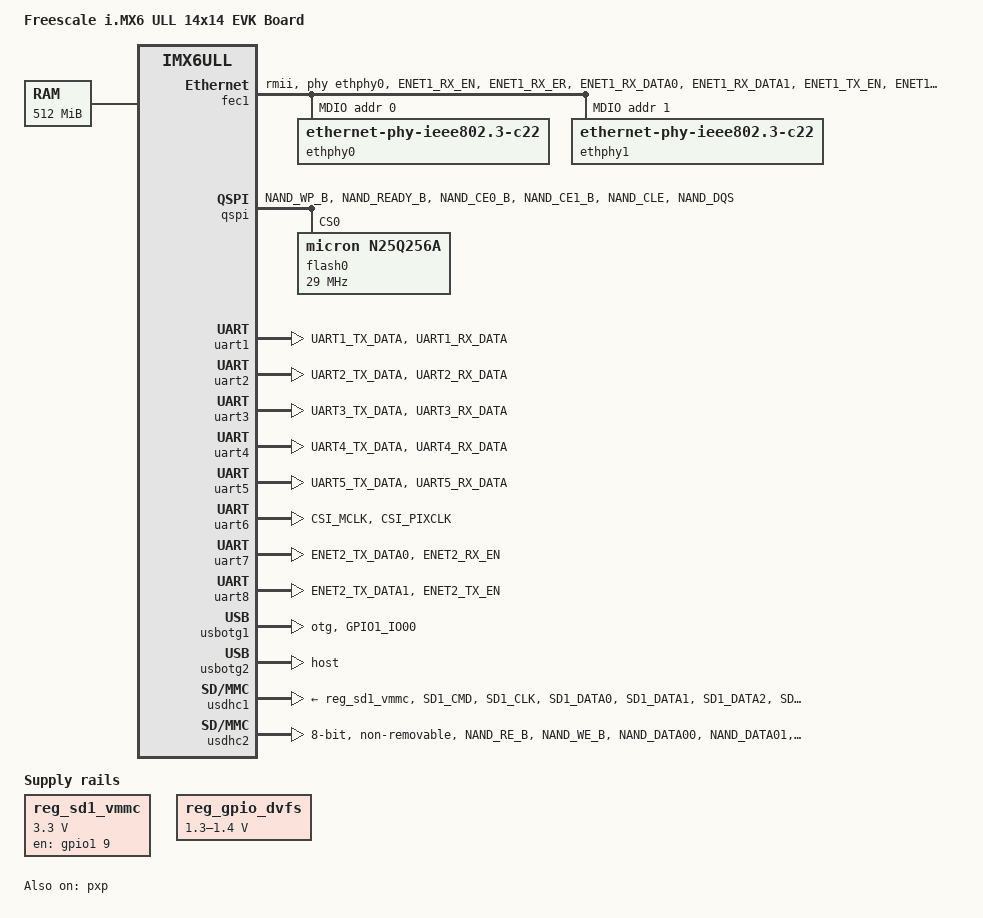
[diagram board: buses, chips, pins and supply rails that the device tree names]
/*
 * Copyright (C) 2016 Freescale Semiconductor, Inc.
 *
 * This program is free software; you can redistribute it and/or modify
 * it under the terms of the GNU General Public License version 2 as
 * published by the Free Software Foundation.
 */

/dts-v1/;

#include <dt-bindings/input/input.h>
#include "imx6ull.dtsi"

/ {
	model = "Freescale i.MX6 ULL 14x14 EVK Board";
	compatible = "fsl,imx6ull-14x14-evk", "fsl,imx6ull";

	chosen {
		stdout-path = &uart1;
	};

	memory {
		reg = <0x80000000 0x20000000>;
	};

	reserved-memory {
		#address-cells = <1>;
		#size-cells = <1>;
		ranges;

		linux,cma {
			compatible = "shared-dma-pool";
			reusable;
			size = <0x4000000>;
			linux,cma-default;
		};
	};

	regulators {
		compatible = "simple-bus";
		#address-cells = <1>;
		#size-cells = <0>;

		reg_sd1_vmmc: regulator@1 {
			compatible = "regulator-fixed";
			regulator-name = "VSD_3V3";
			regulator-min-microvolt = <3300000>;
			regulator-max-microvolt = <3300000>;
			gpio = <&gpio1 9 GPIO_ACTIVE_HIGH>;
			off-on-delay = <20000>;
			enable-active-high;
		};

		reg_gpio_dvfs: regulator-gpio {
			compatible = "regulator-gpio";
			pinctrl-names = "default";
			pinctrl-0 = <&pinctrl_dvfs>;
			regulator-min-microvolt = <1300000>;
			regulator-max-microvolt = <1400000>;
			regulator-name = "gpio_dvfs";
			regulator-type = "voltage";
			gpios = <&gpio5 3 GPIO_ACTIVE_HIGH>;
			states = <1300000 0x1 1400000 0x0>;
		};
	};
};

&cpu0 {
	dc-supply = <&reg_gpio_dvfs>;
};

&clks {
	assigned-clocks = <&clks IMX6UL_CLK_PLL4_AUDIO_DIV>;
	assigned-clock-rates = <786432000>;
};

&fec1 {
	pinctrl-names = "default";
	pinctrl-0 = <&pinctrl_enet1>;
	phy-mode = "rmii";
	phy-handle = <&ethphy0>;
	status = "okay";

	mdio {
		#address-cells = <1>;
		#size-cells = <0>;

		ethphy0: ethernet-phy@0 {
			compatible = "ethernet-phy-ieee802.3-c22";
			reg = <0>;
		};

		ethphy1: ethernet-phy@1 {
			compatible = "ethernet-phy-ieee802.3-c22";
			reg = <1>;
		};
	};
};

&fec2 {
	pinctrl-names = "default";
	pinctrl-0 = <&pinctrl_enet2>;
	phy-mode = "rmii";
	phy-handle = <&ethphy1>;
	status = "disabled";
};

&gpc {
	fsl,cpu_pupscr_sw2iso = <0x1>;
	fsl,cpu_pupscr_sw = <0x0>;
	fsl,cpu_pdnscr_iso2sw = <0x1>;
	fsl,cpu_pdnscr_iso = <0x1>;
	fsl,ldo-bypass = <0>; /* DCDC, ldo-enable */
};

&iomuxc {
	pinctrl-names = "default";
	pinctrl-0 = <&pinctrl_hog_1>;
	pinctrl_hog_1: hoggrp-1 {
		fsl,pins = <
			MX6UL_PAD_UART1_RTS_B__GPIO1_IO19	0x17059
			MX6UL_PAD_GPIO1_IO05__USDHC1_VSELECT	0x17059
			MX6UL_PAD_GPIO1_IO09__GPIO1_IO09	0x17059
			MX6UL_PAD_LCD_ENABLE__GPIO3_IO01	0x17059 /* TTL_OUT0 */
			MX6UL_PAD_JTAG_MOD__GPIO1_IO10	0x17059 /* TTL_OUT1 */
			MX6UL_PAD_GPIO1_IO04__GPIO1_IO04	0x17059 /* TTL_OUT2 */
			MX6UL_PAD_CSI_DATA04__GPIO4_IO25	0x17059 /* TTL_OUT3 */
			MX6UL_PAD_CSI_DATA05__GPIO4_IO26	0x17059 /* TTL_OUT4 */
			MX6UL_PAD_CSI_DATA00__GPIO4_IO21	0x17059 /* TTL_OUT5 */
			MX6UL_PAD_CSI_DATA01__GPIO4_IO22	0x17059 /* TTL_OUT6 */
			MX6UL_PAD_CSI_HSYNC__GPIO4_IO20	0x17059 /* TTL_OUT7 */
			MX6UL_PAD_CSI_DATA02__GPIO4_IO23	0x17059 /* TTL_OUT8 */
			MX6UL_PAD_CSI_DATA03__GPIO4_IO24	0x17059 /* TTL_OUT9 */
			MX6UL_PAD_CSI_DATA06__GPIO4_IO27	0x17059 /* TTL_IN0 */
			MX6UL_PAD_CSI_DATA07__GPIO4_IO28	0x17059 /* TTL_IN1 */
			MX6UL_PAD_SNVS_TAMPER9__GPIO5_IO09	0x17059 /* TTL_IN2 */
			MX6UL_PAD_SNVS_TAMPER5__GPIO5_IO05	0x17059 /* TTL_IN3 */
			MX6UL_PAD_SNVS_TAMPER8__GPIO5_IO08	0x17059 /* TTL_IN4 */
			MX6UL_PAD_SNVS_TAMPER4__GPIO5_IO04	0x17059 /* TTL_IN5 */
			MX6UL_PAD_SNVS_TAMPER3__GPIO5_IO03	0x17059 /* TTL_IN6 */
			MX6UL_PAD_SNVS_TAMPER7__GPIO5_IO07	0x17059 /* TTL_IN7 */
			MX6UL_PAD_SNVS_TAMPER2__GPIO5_IO02	0x17059 /* TTL_IN8 */
			MX6UL_PAD_SNVS_TAMPER6__GPIO5_IO06	0x17059 /* TTL_IN9 */
			MX6UL_PAD_GPIO1_IO09__GPIO1_IO09	0x17059 /* TTL_IN10 */
			MX6UL_PAD_GPIO1_IO08__GPIO1_IO08	0x17059 /* TTL_IN11 */
			MX6UL_PAD_UART2_RTS_B__GPIO1_IO23	0x17059 /* TTL_IN12 */
			MX6UL_PAD_UART2_CTS_B__GPIO1_IO22	0x17059 /* TTL_IN13 */
			MX6UL_PAD_UART3_RTS_B__GPIO1_IO27	0x17059 /* TTL_IN14 */
			MX6UL_PAD_UART3_CTS_B__GPIO1_IO26	0x17059 /* TTL_IN15 */
		>;
	};

	pinctrl_dvfs: dvfsgrp {
		fsl,pins = <
			MX6UL_PAD_SNVS_TAMPER3__GPIO5_IO03	0x79
		>;
	};

	pinctrl_enet1: enet1grp {
		fsl,pins = <
			MX6UL_PAD_ENET1_RX_EN__ENET1_RX_EN	0x1b0b0
			MX6UL_PAD_ENET1_RX_ER__ENET1_RX_ER	0x1b0b0
			MX6UL_PAD_ENET1_RX_DATA0__ENET1_RDATA00	0x1b0b0
			MX6UL_PAD_ENET1_RX_DATA1__ENET1_RDATA01	0x1b0b0
			MX6UL_PAD_ENET1_TX_EN__ENET1_TX_EN	0x1b0b0
			MX6UL_PAD_ENET1_TX_DATA0__ENET1_TDATA00	0x1b0b0
			MX6UL_PAD_ENET1_TX_DATA1__ENET1_TDATA01	0x1b0b0
			MX6UL_PAD_ENET1_TX_CLK__ENET1_REF_CLK1	0x4001b031
		>;
	};

	pinctrl_enet2: enet2grp {
		fsl,pins = <
			MX6UL_PAD_GPIO1_IO07__ENET2_MDC		0x1b0b0
			MX6UL_PAD_GPIO1_IO06__ENET2_MDIO	0x1b0b0
			MX6UL_PAD_ENET2_RX_EN__ENET2_RX_EN	0x1b0b0
			MX6UL_PAD_ENET2_RX_ER__ENET2_RX_ER	0x1b0b0
			MX6UL_PAD_ENET2_RX_DATA0__ENET2_RDATA00	0x1b0b0
			MX6UL_PAD_ENET2_RX_DATA1__ENET2_RDATA01	0x1b0b0
			MX6UL_PAD_ENET2_TX_EN__ENET2_TX_EN	0x1b0b0
			MX6UL_PAD_ENET2_TX_DATA0__ENET2_TDATA00	0x1b0b0
			MX6UL_PAD_ENET2_TX_DATA1__ENET2_TDATA01	0x1b0b0
			MX6UL_PAD_ENET2_TX_CLK__ENET2_REF_CLK2	0x4001b031
		>;
	};

	pinctrl_qspi: qspigrp {
		fsl,pins = <
			MX6UL_PAD_NAND_WP_B__QSPI_A_SCLK      0x70a1
			MX6UL_PAD_NAND_READY_B__QSPI_A_DATA00 0x70a1
			MX6UL_PAD_NAND_CE0_B__QSPI_A_DATA01   0x70a1
			MX6UL_PAD_NAND_CE1_B__QSPI_A_DATA02   0x70a1
			MX6UL_PAD_NAND_CLE__QSPI_A_DATA03     0x70a1
			MX6UL_PAD_NAND_DQS__QSPI_A_SS0_B      0x70a1
		>;
	};

	pinctrl_uart1: uart1grp {
		fsl,pins = <
			MX6UL_PAD_UART1_TX_DATA__UART1_DCE_TX	0x1b0b1
			MX6UL_PAD_UART1_RX_DATA__UART1_DCE_RX	0x1b0b1
		>;
	};

	pinctrl_uart2: uart2grp {
		fsl,pins = <
			MX6UL_PAD_UART2_TX_DATA__UART2_DCE_TX	0x1b0b1
			MX6UL_PAD_UART2_RX_DATA__UART2_DCE_RX	0x1b0b1
		>;
	};

	pinctrl_uart3: uart3grp {
		fsl,pins = <
			MX6UL_PAD_UART3_TX_DATA__UART3_DCE_TX	0x1b0b1
			MX6UL_PAD_UART3_RX_DATA__UART3_DCE_RX	0x1b0b1
		>;
	};

	pinctrl_uart4: uart4grp {
		fsl,pins = <
			MX6UL_PAD_UART4_TX_DATA__UART4_DCE_TX	0x1b0b1
			MX6UL_PAD_UART4_RX_DATA__UART4_DCE_RX	0x1b0b1
		>;
	};

	pinctrl_uart5: uart5grp {
		fsl,pins = <
			MX6UL_PAD_UART5_TX_DATA__UART5_DCE_TX	0x1b0b1
			MX6UL_PAD_UART5_RX_DATA__UART5_DCE_RX	0x1b0b1
		>;
	};

	pinctrl_uart6: uart6grp {
		fsl,pins = <
			MX6UL_PAD_CSI_MCLK__UART6_DCE_TX	0x1b0b1
			MX6UL_PAD_CSI_PIXCLK__UART6_DCE_RX	0x1b0b1
		>;
	};

	pinctrl_uart7: uart7grp {
		fsl,pins = <
			MX6UL_PAD_ENET2_TX_DATA0__UART7_DTE_TX	0x1b0b1
			MX6UL_PAD_ENET2_RX_EN__UART7_DTE_RX	0x1b0b1
		>;
	};

	pinctrl_uart8: uart8grp {
		fsl,pins = <
			MX6UL_PAD_ENET2_TX_DATA1__UART8_DCE_TX	0x1b0b1
			MX6UL_PAD_ENET2_TX_EN__UART8_DCE_RX	0x1b0b1
		>;
	};

	pinctrl_usb_otg1_id: usbotg1idgrp {
		fsl,pins = <
			MX6UL_PAD_GPIO1_IO00__ANATOP_OTG1_ID	0x17059
		>;
	};

	pinctrl_usdhc1: usdhc1grp {
		fsl,pins = <
			MX6UL_PAD_SD1_CMD__USDHC1_CMD     0x17059
			MX6UL_PAD_SD1_CLK__USDHC1_CLK     0x10071
			MX6UL_PAD_SD1_DATA0__USDHC1_DATA0 0x17059
			MX6UL_PAD_SD1_DATA1__USDHC1_DATA1 0x17059
			MX6UL_PAD_SD1_DATA2__USDHC1_DATA2 0x17059
			MX6UL_PAD_SD1_DATA3__USDHC1_DATA3 0x17059
		>;
	};

	pinctrl_usdhc1_100mhz: usdhc1grp100mhz {
		fsl,pins = <
			MX6UL_PAD_SD1_CMD__USDHC1_CMD     0x170b9
			MX6UL_PAD_SD1_CLK__USDHC1_CLK     0x100b9
			MX6UL_PAD_SD1_DATA0__USDHC1_DATA0 0x170b9
			MX6UL_PAD_SD1_DATA1__USDHC1_DATA1 0x170b9
			MX6UL_PAD_SD1_DATA2__USDHC1_DATA2 0x170b9
			MX6UL_PAD_SD1_DATA3__USDHC1_DATA3 0x170b9
		>;
	};

	pinctrl_usdhc1_200mhz: usdhc1grp200mhz {
		fsl,pins = <
			MX6UL_PAD_SD1_CMD__USDHC1_CMD     0x170f9
			MX6UL_PAD_SD1_CLK__USDHC1_CLK     0x100f9
			MX6UL_PAD_SD1_DATA0__USDHC1_DATA0 0x170f9
			MX6UL_PAD_SD1_DATA1__USDHC1_DATA1 0x170f9
			MX6UL_PAD_SD1_DATA2__USDHC1_DATA2 0x170f9
			MX6UL_PAD_SD1_DATA3__USDHC1_DATA3 0x170f9
		>;
	};

	pinctrl_usdhc2_8bit: usdhc2grp_8bit {
		fsl,pins = <
			MX6UL_PAD_NAND_RE_B__USDHC2_CLK     0x10069
			MX6UL_PAD_NAND_WE_B__USDHC2_CMD     0x17059
			MX6UL_PAD_NAND_DATA00__USDHC2_DATA0 0x17059
			MX6UL_PAD_NAND_DATA01__USDHC2_DATA1 0x17059
			MX6UL_PAD_NAND_DATA02__USDHC2_DATA2 0x17059
			MX6UL_PAD_NAND_DATA03__USDHC2_DATA3 0x17059
			MX6UL_PAD_NAND_DATA04__USDHC2_DATA4 0x17059
			MX6UL_PAD_NAND_DATA05__USDHC2_DATA5 0x17059
			MX6UL_PAD_NAND_DATA06__USDHC2_DATA6 0x17059
			MX6UL_PAD_NAND_DATA07__USDHC2_DATA7 0x17059
		>;
	};

	pinctrl_usdhc2_8bit_100mhz: usdhc2grp_8bit_100mhz {
		fsl,pins = <
			MX6UL_PAD_NAND_RE_B__USDHC2_CLK     0x100b9
			MX6UL_PAD_NAND_WE_B__USDHC2_CMD     0x170b9
			MX6UL_PAD_NAND_DATA00__USDHC2_DATA0 0x170b9
			MX6UL_PAD_NAND_DATA01__USDHC2_DATA1 0x170b9
			MX6UL_PAD_NAND_DATA02__USDHC2_DATA2 0x170b9
			MX6UL_PAD_NAND_DATA03__USDHC2_DATA3 0x170b9
			MX6UL_PAD_NAND_DATA04__USDHC2_DATA4 0x170b9
			MX6UL_PAD_NAND_DATA05__USDHC2_DATA5 0x170b9
			MX6UL_PAD_NAND_DATA06__USDHC2_DATA6 0x170b9
			MX6UL_PAD_NAND_DATA07__USDHC2_DATA7 0x170b9
		>;
	};

	pinctrl_usdhc2_8bit_200mhz: usdhc2grp_8bit_200mhz {
		fsl,pins = <
			MX6UL_PAD_NAND_RE_B__USDHC2_CLK     0x100f9
			MX6UL_PAD_NAND_WE_B__USDHC2_CMD     0x170f9
			MX6UL_PAD_NAND_DATA00__USDHC2_DATA0 0x170f9
			MX6UL_PAD_NAND_DATA01__USDHC2_DATA1 0x170f9
			MX6UL_PAD_NAND_DATA02__USDHC2_DATA2 0x170f9
			MX6UL_PAD_NAND_DATA03__USDHC2_DATA3 0x170f9
			MX6UL_PAD_NAND_DATA04__USDHC2_DATA4 0x170f9
			MX6UL_PAD_NAND_DATA05__USDHC2_DATA5 0x170f9
			MX6UL_PAD_NAND_DATA06__USDHC2_DATA6 0x170f9
			MX6UL_PAD_NAND_DATA07__USDHC2_DATA7 0x170f9
		>;
	};

	pinctrl_wdog: wdoggrp {
		fsl,pins = <
			MX6UL_PAD_LCD_RESET__WDOG1_WDOG_ANY    0x30b0
		>;
	};
};

&pxp {
	status = "okay";
};

&qspi {
	pinctrl-names = "default";
	pinctrl-0 = <&pinctrl_qspi>;
	status = "okay";
	ddrsmp=<0>;

	flash0: n25q256a@0 {
		#address-cells = <1>;
		#size-cells = <1>;
		compatible = "micron,n25q256a";
		spi-max-frequency = <29000000>;
		spi-nor,ddr-quad-read-dummy = <6>;
		reg = <0>;
	};
};

&uart1 {
	pinctrl-names = "default";
	pinctrl-0 = <&pinctrl_uart1>;
	status = "okay";
};

&uart2 {
	pinctrl-names = "default";
	pinctrl-0 = <&pinctrl_uart2>;
	status = "okay";
};

&uart3 {
	pinctrl-names = "default";
	pinctrl-0 = <&pinctrl_uart3>;
	status = "okay";
};

&uart4 {
	pinctrl-names = "default";
	pinctrl-0 = <&pinctrl_uart4>;
	status = "okay";
};

&uart5 {
	pinctrl-names = "default";
	pinctrl-0 = <&pinctrl_uart5>;
	status = "okay";
};

&uart6 {
	pinctrl-names = "default";
	pinctrl-0 = <&pinctrl_uart6>;
	status = "okay";
};

&uart7 {
	pinctrl-names = "default";
	pinctrl-0 = <&pinctrl_uart7>;
	status = "okay";
};

&uart8 {
	pinctrl-names = "default";
	pinctrl-0 = <&pinctrl_uart8>;
	status = "okay";
};

&usbotg1 {
	pinctrl-names = "default";
	pinctrl-0 = <&pinctrl_usb_otg1_id>;
	dr_mode = "otg";
	srp-disable;
	hnp-disable;
	adp-disable;
	status = "okay";
};

&usbotg2 {
	dr_mode = "host";
	disable-over-current;
	status = "okay";
};

&usbphy1 {
	tx-d-cal = <0x5>;
};

&usbphy2 {
	tx-d-cal = <0x5>;
};

&usdhc1 {
	pinctrl-names = "default", "state_100mhz", "state_200mhz";
	pinctrl-0 = <&pinctrl_usdhc1>;
	pinctrl-1 = <&pinctrl_usdhc1_100mhz>;
	pinctrl-2 = <&pinctrl_usdhc1_200mhz>;
	cd-gpios = <&gpio1 19 GPIO_ACTIVE_LOW>;
	keep-power-in-suspend;
	enable-sdio-wakeup;
	vmmc-supply = <&reg_sd1_vmmc>;
	status = "okay";
};

&usdhc2 {
	pinctrl-names = "default", "state_100mhz", "state_200mhz";
	pinctrl-0 = <&pinctrl_usdhc2_8bit>;
	pinctrl-1 = <&pinctrl_usdhc2_8bit_100mhz>;
	pinctrl-2 = <&pinctrl_usdhc2_8bit_200mhz>;
	bus-width = <8>;
	non-removable;
	status = "okay";
};

&wdog1 {
	pinctrl-names = "default";
	pinctrl-0 = <&pinctrl_wdog>;
	fsl,ext-reset-output;
};
